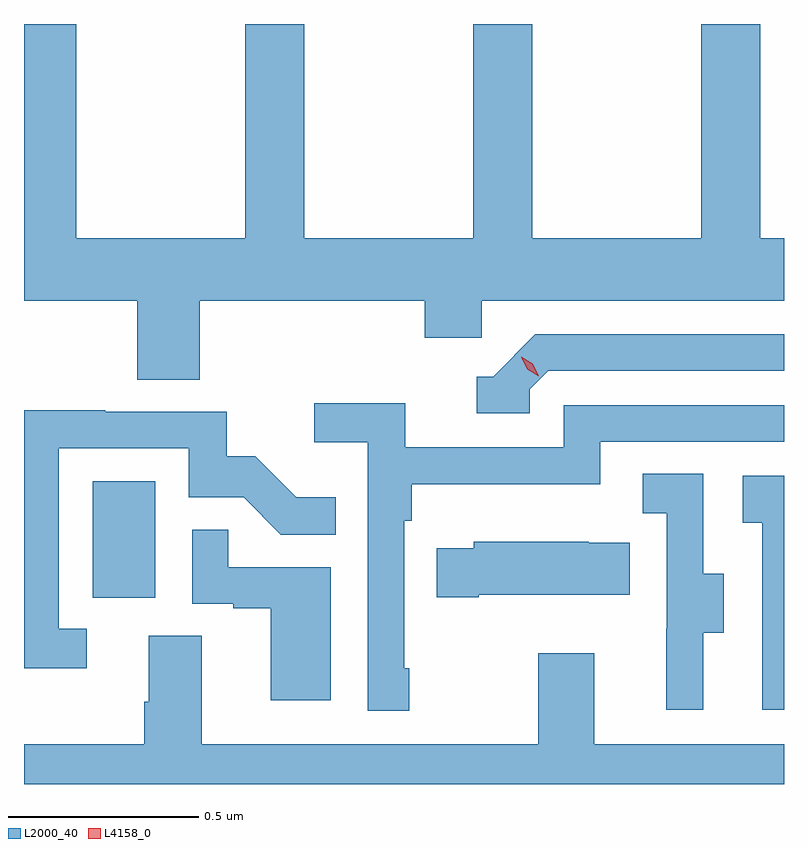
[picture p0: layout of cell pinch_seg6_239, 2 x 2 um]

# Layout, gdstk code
import gdstk
lib = gdstk.Library(unit=1e-6, precision=1e-09)
def R(c, l, rs):  # rectangles x0, y0, x1, y1
    for r in rs: c.add(gdstk.rectangle(r[:2], r[2:], *l))
def P(c, l, *ps):  # polygons
    for p in ps: c.add(gdstk.Polygon(p, *l))
L2000_40 = (2000, 40)
L4158_0 = (4158, 0)

pinch_seg6_239 = lib.new_cell('pinch_seg6_239')
R(pinch_seg6_239, L2000_40, [(1115.258,931.902,1115.422,932.209)])
P(pinch_seg6_239, L2000_40, [(1115.54,932.684),(1116.131,932.684),(1116.131,932.586),(1116.282,932.586),(1116.282,932.684),(1117.077,932.684),(1117.077,932.848),(1117.014,932.848),(1117.014,933.412),(1116.859,933.412),(1116.859,932.848),(1116.414,932.848),(1116.414,933.412),(1116.259,933.412),(1116.259,932.848),(1115.814,932.848),(1115.814,933.412),(1115.659,933.412),(1115.659,932.848),(1115.214,932.848),(1115.214,933.412),(1115.077,933.412),(1115.077,932.684),(1115.375,932.684),(1115.375,932.476),(1115.54,932.476)],
  [(1116.408,932.451),(1116.456,932.499),(1117.077,932.499),(1117.077,932.595),(1116.423,932.595),(1116.312,932.484),(1116.269,932.484),(1116.269,932.388),(1116.408,932.388)],
  [(1116.091,931.717),(1116.078,931.717),(1116.078,932.105),(1116.098,932.105),(1116.098,932.201),(1116.594,932.201),(1116.594,932.313),(1117.077,932.313),(1117.077,932.409),(1116.498,932.409),(1116.498,932.298),(1116.08,932.298),(1116.08,932.414),(1115.841,932.414),(1115.841,932.312),(1115.982,932.312),(1115.982,931.605),(1116.091,931.605)],
  [(1115.242,931.821),(1115.169,931.821),(1115.169,932.295),(1115.511,932.295),(1115.511,932.166),(1115.655,932.166),(1115.753,932.068),(1115.897,932.068),(1115.897,932.167),(1115.793,932.167),(1115.686,932.274),(1115.61,932.274),(1115.61,932.391),(1115.291,932.391),(1115.291,932.396),(1115.077,932.396),(1115.077,931.716),(1115.242,931.716)],
  [(1116.865,931.81),(1116.919,931.81),(1116.919,931.965),(1116.864,931.965),(1116.864,932.228),(1116.705,932.228),(1116.705,932.125),(1116.768,932.125),(1116.768,931.821),(1116.767,931.821),(1116.767,931.608),(1116.865,931.608)],
  [(1117.077,932.223),(1116.969,932.223),(1116.969,932.099),(1117.02,932.099),(1117.02,931.608),(1117.077,931.608)],
  [(1115.884,931.983),(1115.615,931.983),(1115.615,932.081),(1115.52,932.081),(1115.52,931.887),(1115.627,931.887),(1115.627,931.875),(1115.726,931.875),(1115.726,931.632),(1115.884,931.632)],
  [(1116.274,931.91),(1116.671,931.91),(1116.671,932.047),(1116.563,932.047),(1116.563,932.05),(1116.261,932.05),(1116.261,932.032),(1116.163,932.032),(1116.163,931.903),(1116.274,931.903)],
  [(1117.077,931.516),(1116.577,931.516),(1116.577,931.756),(1116.43,931.756),(1116.43,931.516),(1115.545,931.516),(1115.545,931.802),(1115.405,931.802),(1115.405,931.628),(1115.393,931.628),(1115.393,931.516),(1115.077,931.516),(1115.077,931.412),(1117.077,931.412)])
P(pinch_seg6_239, L4158_0, [(1116.431,932.485),(1116.401,932.504),(1116.385,932.537),(1116.385,932.537),(1116.385,932.537),(1116.416,932.518),(1116.431,932.485),(1116.431,932.485)])

lib.write_gds('pinch_seg6_239.gds')
